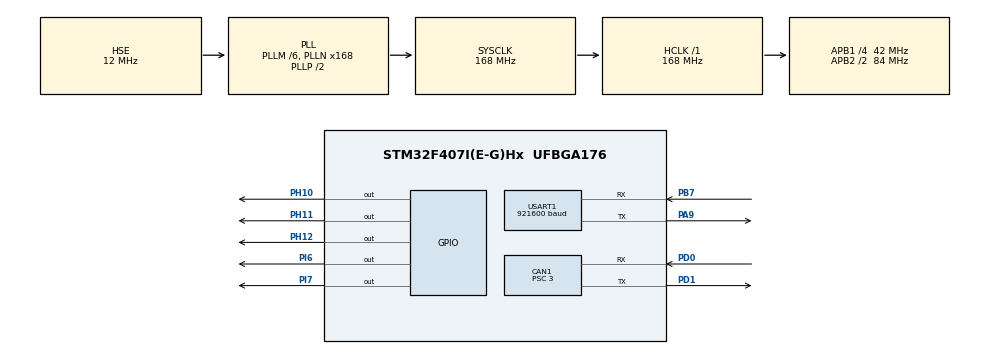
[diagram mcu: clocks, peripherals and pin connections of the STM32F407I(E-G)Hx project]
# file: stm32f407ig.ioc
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CAN1.BS1=CAN_BS1_10TQ
CAN1.BS2=CAN_BS2_3TQ
CAN1.CalculateBaudRate=1000000
CAN1.CalculateTimeBit=1000
CAN1.CalculateTimeQuantum=71.42857142857143
CAN1.NART=ENABLE
CAN1.Prescaler=3
CAN1.SJW=CAN_SJW_1TQ
Dma.Request0=USART1_RX
Dma.Request1=USART1_TX
Dma.USART1_RX.0.Direction=DMA_PERIPH_TO_MEMORY
Dma.USART1_RX.0.FIFOMode=DMA_FIFOMODE_DISABLE
Dma.USART1_RX.0.Instance=DMA2_Stream2
Dma.USART1_RX.0.MemDataAlignment=DMA_MDATAALIGN_BYTE
Dma.USART1_RX.0.MemInc=DMA_MINC_ENABLE
Dma.USART1_RX.0.Mode=DMA_NORMAL
Dma.USART1_RX.0.PeriphDataAlignment=DMA_PDATAALIGN_BYTE
Dma.USART1_RX.0.PeriphInc=DMA_PINC_DISABLE
Dma.USART1_RX.0.Priority=DMA_PRIORITY_LOW
Dma.USART1_TX.1.Direction=DMA_MEMORY_TO_PERIPH
Dma.USART1_TX.1.FIFOMode=DMA_FIFOMODE_DISABLE
Dma.USART1_TX.1.Instance=DMA2_Stream7
Dma.USART1_TX.1.MemDataAlignment=DMA_MDATAALIGN_BYTE
Dma.USART1_TX.1.MemInc=DMA_MINC_ENABLE
Dma.USART1_TX.1.Mode=DMA_NORMAL
Dma.USART1_TX.1.PeriphDataAlignment=DMA_PDATAALIGN_BYTE
Dma.USART1_TX.1.PeriphInc=DMA_PINC_DISABLE
Dma.USART1_TX.1.Priority=DMA_PRIORITY_LOW
Mcu.Family=STM32F4
Mcu.Name=STM32F407I(E-G)Hx
Mcu.Package=UFBGA176
NVIC.CAN1_RX0_IRQn=true\:0\:0\:false\:false\:true\:true\:true\:true
NVIC.CAN1_TX_IRQn=true\:0\:0\:false\:false\:true\:true\:true\:true
NVIC.DMA2_Stream2_IRQn=true\:0\:0\:false\:false\:true\:false\:true\:true
NVIC.DMA2_Stream7_IRQn=true\:0\:0\:false\:false\:true\:false\:true\:true
NVIC.PriorityGroup=NVIC_PRIORITYGROUP_4
NVIC.USART1_IRQn=true\:0\:0\:false\:false\:true\:true\:true\:true
PA13.Mode=Serial_Wire
PA13.Signal=SYS_JTMS-SWDIO
PA14.Mode=Serial_Wire
PA14.Signal=SYS_JTCK-SWCLK
PA9.Mode=Asynchronous
PA9.Signal=USART1_TX
PB15.Signal=SPI2_MOSI
PB7.Mode=Asynchronous
PB7.Signal=USART1_RX
PD0.Mode=CAN_Activate
PD0.Signal=CAN1_RX
PD1.Mode=CAN_Activate
PD1.Signal=CAN1_TX
PE9.GPIO_PuPd=GPIO_PULLDOWN
PE9.GPIO_Speed=GPIO_SPEED_FREQ_MEDIUM
PE9.Signal=S_TIM1_CH1
PH0-OSC_IN.Mode=HSE-External-Oscillator
PH0-OSC_IN.Signal=RCC_OSC_IN
PH1-OSC_OUT.Mode=HSE-External-Oscillator
PH1-OSC_OUT.Signal=RCC_OSC_OUT
PH10.Signal=GPIO_Output
PH11.Signal=GPIO_Output
PH12.Signal=GPIO_Output
PI6.Signal=GPIO_Output
PI7.Signal=GPIO_Output
ProjectManager.HeapSize=0x200
ProjectManager.StackSize=0x400
ProjectManager.TargetToolchain=MDK-ARM V5.27
RCC.48MHZClocksFreq_Value=84000000
RCC.AHBFreq_Value=168000000
RCC.APB1CLKDivider=RCC_HCLK_DIV4
RCC.APB1Freq_Value=42000000
RCC.APB1TimFreq_Value=84000000
RCC.APB2CLKDivider=RCC_HCLK_DIV2
RCC.APB2Freq_Value=84000000
RCC.APB2TimFreq_Value=168000000
RCC.CortexFreq_Value=168000000
RCC.HCLKFreq_Value=168000000
RCC.HSE_VALUE=12000000
RCC.HSI_VALUE=16000000
RCC.LSE_VALUE=32768
RCC.PLLM=6
RCC.PLLN=168
RCC.PLLSourceVirtual=RCC_PLLSOURCE_HSE
RCC.SYSCLKFreq_VALUE=168000000
RCC.SYSCLKSource=RCC_SYSCLKSOURCE_PLLCLK
RCC.VCOOutputFreq_Value=336000000
SH.S_TIM1_CH1.0=TIM1_CH1
USART1.BaudRate=921600
USART1.VirtualMode=VM_ASYNC
board=custom

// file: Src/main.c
/* USER CODE BEGIN Header */
/**
 ******************************************************************************
 * @file           : main.c
 * @brief          : Main program body
 ******************************************************************************
 * @attention
 *
 * <h2><center>&copy; Copyright (c) 2019 STMicroelectronics.
 * All rights reserved.</center></h2>
 *
 * This software component is licensed by ST under BSD 3-Clause license,
 * the "License"; You may not use this file except in compliance with the
 * License. You may obtain a copy of the License at:
 *                        opensource.org/licenses/BSD-3-Clause
 *
 ******************************************************************************
 */
/* USER CODE END Header */
#include "main.h"
#include "can.h"
#include "dma.h"
#include "usart.h"
#include "gpio.h"

/* USER CODE BEGIN Includes */
#include "stm32f407_bsp_gpio.h"
#include "stm32f407_bsp_uart.h"
#include "stm32f407_bsp_can.h"
#include "stm32f407_bsp_flash.h"
#include "stm32f407_bsp_mcu.h"
#include "app_protocol.h"
/* USER CODE END Includes */

void SystemClock_Config(void);

/* USER CODE BEGIN 0 */
uint32_t time_now = 0;
uint32_t time_last[3] = {0};

/* USER CODE END 0 */

int main(void)
{

  /* MCU Configuration--------------------------------------------------------*/

  /* Reset of all peripherals, Initializes the Flash interface and the Systick. */
  HAL_Init();

  /* Configure the system clock */
  SystemClock_Config();

  /* Initialize all configured peripherals */
  MX_GPIO_Init();
  MX_DMA_Init();
  MX_CAN1_Init();
  MX_USART1_UART_Init();
  /* USER CODE BEGIN 2 */

#ifdef FIRMWARE_APP
    SCB->VTOR = FLASH_BASE | 0x20000;
    // NVIC_SetVectorTable(NVIC_VectTab_RAM, 0x20000);
    __enable_irq();
#endif

    // systick_config();

    bsp_flash_init();

    bsp_can_init();

    bsp_uart_init();

    // bsp_gpio_init();

    bsp_mcu_info_init();

    app_protocol_init();

#ifdef FIRMWARE_LOADER
    HAL_GPIO_WritePin(GPIOH, GPIO_PIN_11, 0);
    HAL_GPIO_WritePin(GPIOH, GPIO_PIN_12, 1);
    if (*stop_boot_app_flag == STOP_BOOT_APP_FLAG_VAR)
    {
        g_app_start = 0;
        *stop_boot_app_flag = 0;
    }
    else
    {
        g_app_start = 1;
    }
#endif

  /* USER CODE END 2 */

  /* Infinite loop */
  while (1)
  {

    /* USER CODE BEGIN 3 */

    time_now = HAL_GetTick();

    if (time_now - time_last[0] > 10)
    {
        time_last[0] = time_now;
        app_protocol_loop();
    }

#ifdef FIRMWARE_LOADER
    if (time_now - time_last[2] > 100)
    {
        time_last[2] = time_now;
        if (g_app_start == 1 && time_now > 1000)
        {
            HAL_GPIO_WritePin(GPIOH, GPIO_PIN_12, 0);
            mcu_app_start();
        }
        HAL_GPIO_TogglePin(GPIOH, GPIO_PIN_12);
    }
#else
    if (time_now - time_last[2] > 100)
    {
        time_last[2] = time_now;
        HAL_GPIO_TogglePin(GPIOH, GPIO_PIN_11);
    }
#endif
  }
  /* USER CODE END 3 */
}

void SystemClock_Config(void)
{
  RCC_OscInitTypeDef RCC_OscInitStruct = {0};
  RCC_ClkInitTypeDef RCC_ClkInitStruct = {0};

  /** Configure the main internal regulator output voltage
  */
  __HAL_RCC_PWR_CLK_ENABLE();
  __HAL_PWR_VOLTAGESCALING_CONFIG(PWR_REGULATOR_VOLTAGE_SCALE1);

  /** Initializes the RCC Oscillators according to the specified parameters
  * in the RCC_OscInitTypeDef structure.
  */
  RCC_OscInitStruct.OscillatorType = RCC_OSCILLATORTYPE_HSE;
  RCC_OscInitStruct.HSEState = RCC_HSE_ON;
  RCC_OscInitStruct.PLL.PLLState = RCC_PLL_ON;
  RCC_OscInitStruct.PLL.PLLSource = RCC_PLLSOURCE_HSE;
  RCC_OscInitStruct.PLL.PLLM = 6;
  RCC_OscInitStruct.PLL.PLLN = 168;
  RCC_OscInitStruct.PLL.PLLP = RCC_PLLP_DIV2;
  RCC_OscInitStruct.PLL.PLLQ = 4;
  if (HAL_RCC_OscConfig(&RCC_OscInitStruct) != HAL_OK)
  {
    Error_Handler();
  }

  /** Initializes the CPU, AHB and APB buses clocks
  */
  RCC_ClkInitStruct.ClockType = RCC_CLOCKTYPE_HCLK|RCC_CLOCKTYPE_SYSCLK
                              |RCC_CLOCKTYPE_PCLK1|RCC_CLOCKTYPE_PCLK2;
  RCC_ClkInitStruct.SYSCLKSource = RCC_SYSCLKSOURCE_PLLCLK;
  RCC_ClkInitStruct.AHBCLKDivider = RCC_SYSCLK_DIV1;
  RCC_ClkInitStruct.APB1CLKDivider = RCC_HCLK_DIV4;
  RCC_ClkInitStruct.APB2CLKDivider = RCC_HCLK_DIV2;

  if (HAL_RCC_ClockConfig(&RCC_ClkInitStruct, FLASH_LATENCY_5) != HAL_OK)
  {
    Error_Handler();
  }
}

void Error_Handler(void)
{
}
